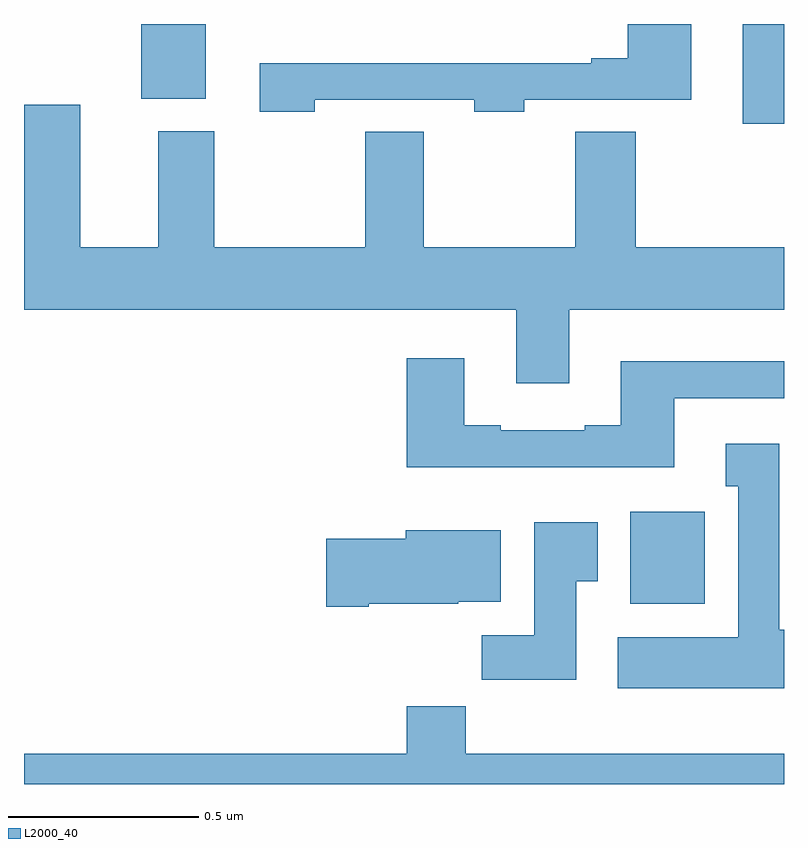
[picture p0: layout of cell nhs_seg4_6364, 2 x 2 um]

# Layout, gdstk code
import gdstk
lib = gdstk.Library(unit=1e-6, precision=1e-09)
def R(c, l, rs):  # rectangles x0, y0, x1, y1
    for r in rs: c.add(gdstk.rectangle(r[:2], r[2:], *l))
def P(c, l, *ps):  # polygons
    for p in ps: c.add(gdstk.Polygon(p, *l))
L2000_40 = (2000, 40)

nhs_seg4_6364 = lib.new_cell('nhs_seg4_6364')
R(nhs_seg4_6364, L2000_40, [(190.595,801.374,190.792,801.616), (190.892,802.638,191,802.9), (189.308,802.703,189.478,802.9)])
P(nhs_seg4_6364, L2000_40, [(189.765,802.701),(190.185,802.701),(190.185,802.669),(190.317,802.669),(190.317,802.701),(190.756,802.701),(190.756,802.9),(190.589,802.9),(190.589,802.81),(190.493,802.81),(190.493,802.797),(189.621,802.797),(189.621,802.669),(189.765,802.669)],
  [(190.435,802.148),(191,802.148),(191,802.312),(190.61,802.312),(190.61,802.616),(190.45,802.616),(190.45,802.312),(190.052,802.312),(190.052,802.616),(189.898,802.616),(189.898,802.312),(189.501,802.312),(189.501,802.618),(189.353,802.618),(189.353,802.312),(189.148,802.312),(189.148,802.687),(189,802.687),(189,802.148),(190.295,802.148),(190.295,801.954),(190.435,801.954)],
  [(190.711,801.915),(191,801.915),(191,802.012),(190.571,802.012),(190.571,801.844),(190.475,801.844),(190.475,801.831),(190.255,801.831),(190.255,801.844),(190.159,801.844),(190.159,802.021),(190.007,802.021),(190.007,801.734),(190.711,801.734)],
  [(191,801.306),(190.987,801.306),(190.987,801.796),(190.847,801.796),(190.847,801.683),(190.88,801.683),(190.88,801.286),(190.563,801.286),(190.563,801.152),(191,801.152)],
  [(190.453,801.433),(190.51,801.433),(190.51,801.589),(190.343,801.589),(190.343,801.292),(190.204,801.292),(190.204,801.174),(190.453,801.174)],
  [(189.907,801.374),(190.143,801.374),(190.143,801.38),(190.255,801.38),(190.255,801.568),(190.004,801.568),(190.004,801.545),(189.795,801.545),(189.795,801.367),(189.907,801.367)],
  [(191,800.98),(190.163,800.98),(190.163,801.104),(190.007,801.104),(190.007,800.98),(189,800.98),(189,800.9),(191,800.9)])

lib.write_gds('nhs_seg4_6364.gds')
